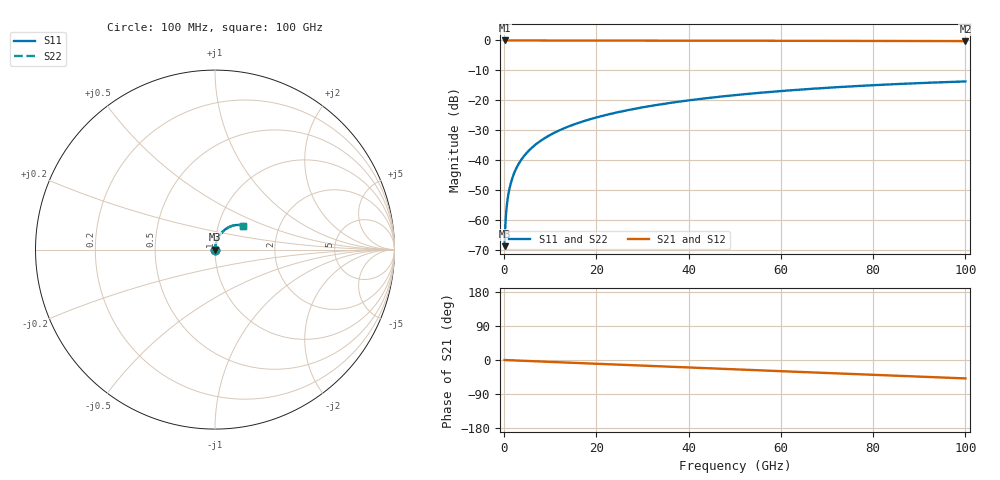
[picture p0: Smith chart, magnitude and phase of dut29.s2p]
! Touchstone file exported from HFSS 2026.1.0
!  File:  C:/ffzhzh/LocalFiles/Ansys_Project_Files/temp_train_TSV_29_1783504559_55944.aedt
!  Generated:  05:57:25 PM Jul  8, 2026
!  Design:  TSV
!  Project:  temp_train_TSV_29_1783504559_55944
! Variables:
!  h_bsmrdl = 2um
!  h_ox = 20um
!  h_rdl = 5um
!  h_sub = 94.33um
!  h_tmrdl = 5um
!  h_tsv = 94.33um
!  h_via = 3um
!  l_bsmrdl = 300um
!  l_sub = 416.62um
!  l_tmrdl = 200um
!  m_sub = 200um
!  pitch = 50.23um
!  r_tsv = 8.31um
!  s_tmrdl = 10um
!  w_bsmrdl = 18um
!  w_sub = 500um
!  w_tmrdl = 12um
!  x_tsv_center1 = 206um
!  x_tsv_center2 = 524um
!  x_tsv_center3 = 736um
!  x_tsv_center4 = 1054um
!  x_tsv_center5 = 1266um
!  x_tsv_center6 = 1584um
# GHz S MA R 50.000000
! Terminal data exported
! Port[1] = TSV1_1_T1
! Port[2] = TSV1_1_T2
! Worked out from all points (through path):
!   1000 points, 100 MHz to 100 GHz, reference 50 ohm
!   highest |S21| = 0.00 dB at 100 MHz (marker M1); lowest = -0.2 dB at 100 GHz (marker M2)
!   group delay of S21, straight-line fit = 1.35 ps
!   lowest |S11| = -68.9 dB at 100 MHz (marker M3), VSWR 1.00, Z = 50 + j0.0306 ohm
!   |S11| at or under -10 dB: start of sweep to end of sweep
!   |S22| runs from -68.9 to -13.7 dB; largest |S21 - S12| = 3.4e-15
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0.1  0.000361 58.1  0.9998 -0.1  0.9998 -0.1  0.000361 58.1
! Gamma 0 0 0 0
! Port Impedance 50 0 50 0
0.3  0.0009338 76.1  0.9998 -0.2  0.9998 -0.2  0.0009338 76.1
0.7  0.002067 81.1  0.9997 -0.4  0.9997 -0.4  0.002067 81.1
0.8  0.002343 81.6  0.9997 -0.4  0.9997 -0.4  0.002343 81.6
1  0.00289 82.3  0.9996 -0.5  0.9996 -0.5  0.00289 82.3
1.3  0.003702 83.0  0.9996 -0.7  0.9996 -0.7  0.003702 83.0
1.7  0.004777 83.5  0.9995 -0.9  0.9995 -0.9  0.004777 83.5
2.3  0.006373 83.9  0.9994 -1.2  0.9994 -1.2  0.006373 83.9
3  0.008216 84.0  0.9993 -1.5  0.9993 -1.5  0.008216 84.0
3.8  0.0103 84.1  0.9992 -1.9  0.9992 -1.9  0.0103 84.1
4.8  0.0129 84.0  0.9991 -2.4  0.9991 -2.4  0.0129 84.0
6  0.016 83.8  0.999 -3.0  0.999 -3.0  0.016 83.8
8.8  0.02321 82.9  0.9986 -4.4  0.9986 -4.4  0.02321 82.9
12.4  0.03239 81.5  0.9982 -6.2  0.9982 -6.2  0.03239 81.5
16.8  0.04348 79.6  0.9975 -8.4  0.9975 -8.4  0.04348 79.6
24.2  0.06185 76.3  0.9963 -12.0  0.9963 -12.0  0.06185 76.3
33.4  0.08403 72.0  0.9943 -16.5  0.9943 -16.5  0.08403 72.0
41.2  0.1021 68.4  0.9924 -20.3  0.9924 -20.3  0.1021 68.4
50.1  0.1218 64.1  0.99 -24.7  0.99 -24.7  0.1218 64.1
66.7  0.1552 56.3  0.985 -32.7  0.985 -32.7  0.1552 56.3
83.4  0.1837 48.4  0.9797 -40.7  0.9797 -40.7  0.1837 48.4
100  0.206 40.6  0.975 -48.6  0.975 -48.6  0.206 40.6
